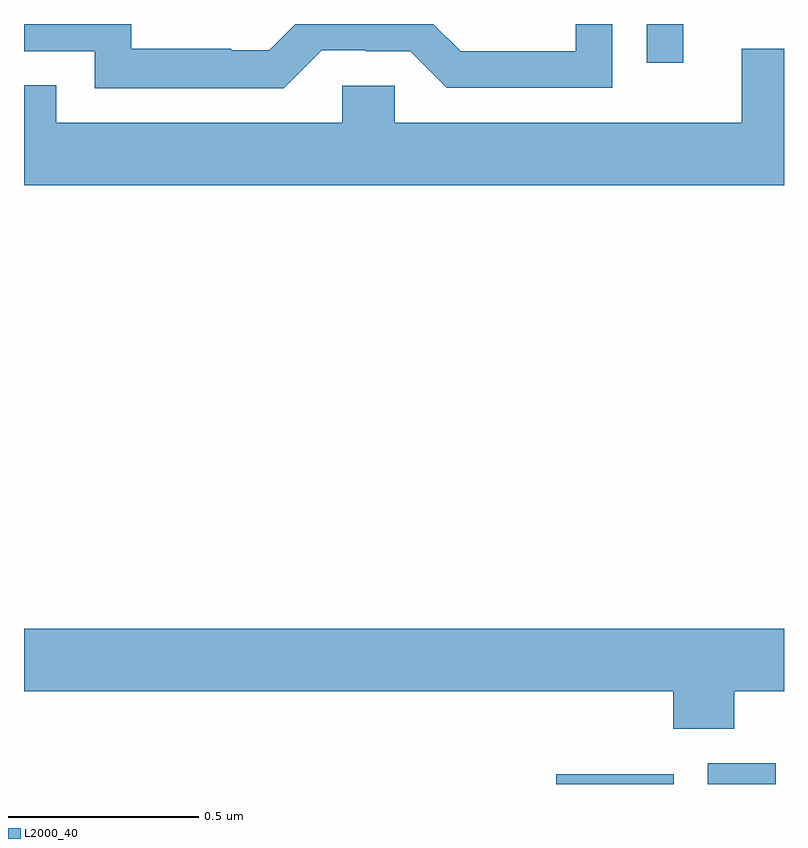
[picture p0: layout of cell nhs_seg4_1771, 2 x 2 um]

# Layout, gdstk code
import gdstk
lib = gdstk.Library(unit=1e-6, precision=1e-09)
def R(c, l, rs):  # rectangles x0, y0, x1, y1
    for r in rs: c.add(gdstk.rectangle(r[:2], r[2:], *l))
def P(c, l, *ps):  # polygons
    for p in ps: c.add(gdstk.Polygon(p, *l))
L2000_40 = (2000, 40)

nhs_seg4_1771 = lib.new_cell('nhs_seg4_1771')
R(nhs_seg4_1771, L2000_40, [(133.401,805.9,133.71,805.926), (133.799,805.9,133.978,805.954), (133.639,807.798,133.735,807.9)])
P(nhs_seg4_1771, L2000_40, [(132.783,807.831),(132.899,807.831),(132.899,807.828),(133.017,807.828),(133.113,807.732),(133.548,807.732),(133.548,807.9),(133.452,807.9),(133.452,807.828),(133.149,807.828),(133.077,807.9),(132.714,807.9),(132.645,807.831),(132.545,807.831),(132.545,807.835),(132.282,807.835),(132.282,807.9),(132,807.9),(132,807.828),(132.186,807.828),(132.186,807.731),(132.683,807.731)],
  [(134,807.835),(133.889,807.835),(133.889,807.64),(132.975,807.64),(132.975,807.738),(132.837,807.738),(132.837,807.64),(132.085,807.64),(132.085,807.739),(132,807.739),(132,807.476),(134,807.476)],
  [(133.869,806.144),(134,806.144),(134,806.308),(132,806.308),(132,806.144),(133.709,806.144),(133.709,806.045),(133.869,806.045)])

lib.write_gds('nhs_seg4_1771.gds')
